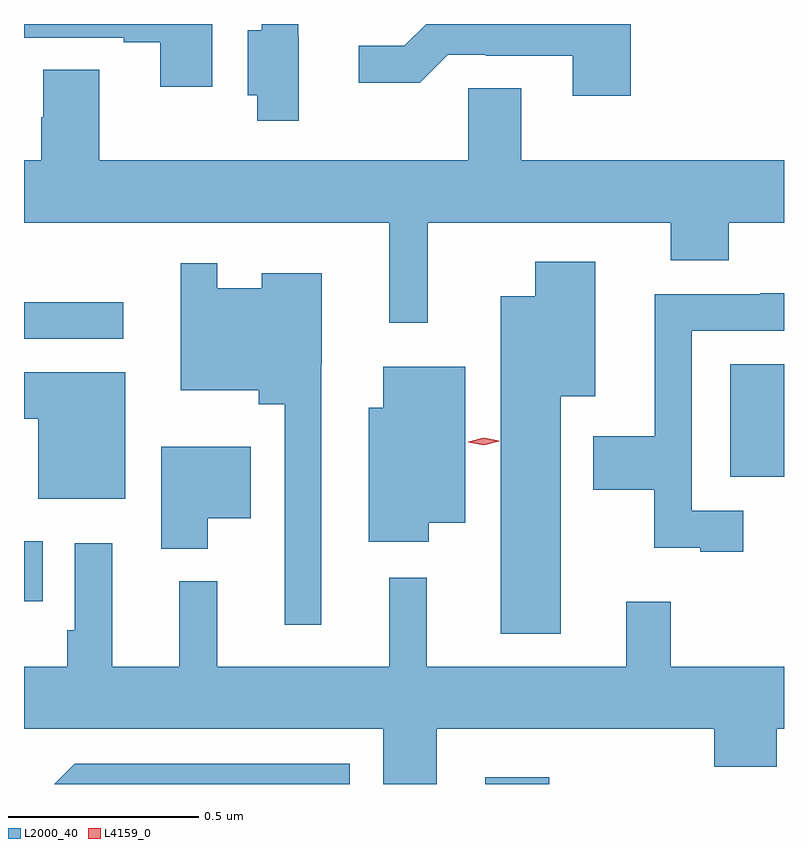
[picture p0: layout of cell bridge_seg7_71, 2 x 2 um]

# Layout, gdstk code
import gdstk
lib = gdstk.Library(unit=1e-6, precision=1e-09)
def R(c, l, rs):  # rectangles x0, y0, x1, y1
    for r in rs: c.add(gdstk.rectangle(r[:2], r[2:], *l))
def P(c, l, *ps):  # polygons
    for p in ps: c.add(gdstk.Polygon(p, *l))
L2000_40 = (2000, 40)
L4159_0 = (4159, 0)

bridge_seg7_71 = lib.new_cell('bridge_seg7_71')
R(bridge_seg7_71, L2000_40, [(1055.541,1032.439,1055.709,1032.457), (1054.327,1032.92,1054.376,1033.078), (1056.185,1033.247,1056.327,1033.543), (1054.327,1033.611,1054.588,1033.707)])
P(bridge_seg7_71, L2000_40, [(1055.924,1034.439),(1055.385,1034.439),(1055.328,1034.382),(1055.208,1034.382),(1055.208,1034.285),(1055.369,1034.285),(1055.442,1034.358),(1055.542,1034.358),(1055.542,1034.355),(1055.771,1034.355),(1055.771,1034.25),(1055.924,1034.25)],
  [(1054.822,1034.439),(1054.327,1034.439),(1054.327,1034.403),(1054.589,1034.403),(1054.589,1034.391),(1054.685,1034.391),(1054.685,1034.274),(1054.822,1034.274)],
  [(1055.05,1034.406),(1055.049,1034.406),(1055.049,1034.439),(1054.952,1034.439),(1054.952,1034.423),(1054.916,1034.423),(1054.916,1034.252),(1054.941,1034.252),(1054.941,1034.184),(1055.05,1034.184)],
  [(1055.39,1033.916),(1056.029,1033.916),(1056.029,1033.817),(1056.182,1033.817),(1056.182,1033.916),(1056.327,1033.916),(1056.327,1034.08),(1055.635,1034.08),(1055.635,1034.27),(1055.496,1034.27),(1055.496,1034.08),(1054.525,1034.08),(1054.525,1034.318),(1054.378,1034.318),(1054.378,1034.193),(1054.373,1034.193),(1054.373,1034.08),(1054.327,1034.08),(1054.327,1033.916),(1055.288,1033.916),(1055.288,1033.653),(1055.39,1033.653)],
  [(1055.74,1033.46),(1055.83,1033.46),(1055.83,1033.813),(1055.672,1033.813),(1055.672,1033.723),(1055.582,1033.723),(1055.582,1032.834),(1055.74,1032.834)],
  [(1055.109,1033.543),(1055.11,1033.543),(1055.11,1033.783),(1054.952,1033.783),(1054.952,1033.744),(1054.836,1033.744),(1054.836,1033.81),(1054.74,1033.81),(1054.74,1033.475),(1054.945,1033.475),(1054.945,1033.439),(1055.013,1033.439),(1055.013,1032.858),(1055.109,1032.858)],
  [(1056.22,1033.158),(1056.084,1033.158),(1056.084,1033.632),(1056.327,1033.632),(1056.327,1033.73),(1056.265,1033.73),(1056.265,1033.728),(1055.987,1033.728),(1055.987,1033.354),(1055.825,1033.354),(1055.825,1033.214),(1055.986,1033.214),(1055.986,1033.061),(1056.106,1033.061),(1056.106,1033.05),(1056.22,1033.05)],
  [(1055.392,1033.127),(1055.488,1033.127),(1055.488,1033.537),(1055.273,1033.537),(1055.273,1033.429),(1055.234,1033.429),(1055.234,1033.077),(1055.392,1033.077)],
  [(1054.594,1033.522),(1054.327,1033.522),(1054.327,1033.4),(1054.364,1033.4),(1054.364,1033.19),(1054.594,1033.19)],
  [(1054.81,1033.139),(1054.924,1033.139),(1054.924,1033.327),(1054.688,1033.327),(1054.688,1033.058),(1054.81,1033.058)],
  [(1055.413,1032.584),(1056.143,1032.584),(1056.143,1032.485),(1056.308,1032.485),(1056.308,1032.584),(1056.327,1032.584),(1056.327,1032.748),(1056.029,1032.748),(1056.029,1032.919),(1055.912,1032.919),(1055.912,1032.748),(1055.387,1032.748),(1055.387,1032.982),(1055.288,1032.982),(1055.288,1032.748),(1054.835,1032.748),(1054.835,1032.973),(1054.736,1032.973),(1054.736,1032.748),(1054.559,1032.748),(1054.559,1033.072),(1054.461,1033.072),(1054.461,1032.844),(1054.441,1032.844),(1054.441,1032.748),(1054.327,1032.748),(1054.327,1032.584),(1055.273,1032.584),(1055.273,1032.439),(1055.413,1032.439)],
  [(1055.184,1032.492),(1054.46,1032.492),(1054.407,1032.439),(1055.184,1032.439)])
P(bridge_seg7_71, L4159_0, [(1055.537,1033.331),(1055.496,1033.339),(1055.496,1033.34),(1055.496,1033.34),(1055.537,1033.35),(1055.578,1033.342),(1055.578,1033.341),(1055.578,1033.341)])

lib.write_gds('bridge_seg7_71.gds')
